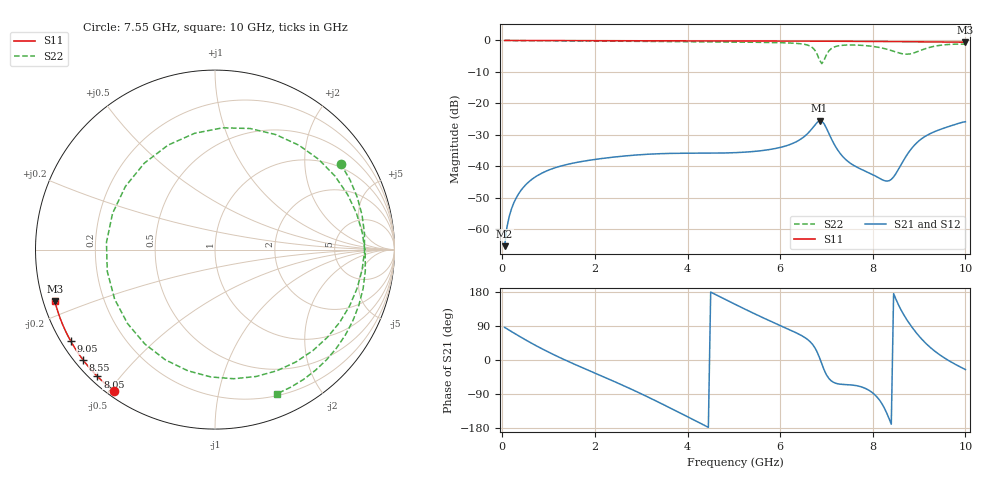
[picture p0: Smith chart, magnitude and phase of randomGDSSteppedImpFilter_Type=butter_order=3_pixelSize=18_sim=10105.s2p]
! freq	dB(S11)	phase(S11)	dB(S12)	phase(S12)
!  dB(S21)	phase(S21)	dB(S22)	phase(S22)
!S-par simulation data
#  GHz  S  DB  R 50
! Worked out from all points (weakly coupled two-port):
!   200 points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, 50 MHz to 10 GHz, reference 50 ohm
!   highest |S21| = -25.51 dB at 6.85 GHz (marker M1); lowest = -65.3 dB at 50 MHz (marker M2)
!   lowest |S11| = -0.6 dB at 10 GHz (marker M3), VSWR 30.91, Z = 1.66 - j7.89 ohm
!   |S11| at or under -10 dB: nowhere
!   |S22| runs from -7.4 to 0.0 dB; largest |S21 - S12| = 0
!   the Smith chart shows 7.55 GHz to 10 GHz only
!   S11 on the Smith chart (normalised r, x): 7.55 GHz: 0.02, -0.51; 8.05 GHz: 0.02, -0.44; 8.55 GHz: 0.02, -0.36; 9.05 GHz: 0.03, -0.29; 10 GHz: 0.03, -0.16
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0.05  -0.00 -0.9  -65.35 86.1  -65.35 86.1  -0.00 -6.6
0.25  -0.01 -4.7  -51.55 71.2  -51.55 71.2  -0.05 -32.7
0.75  -0.02 -14.0  -43.00 36.4  -43.00 36.4  -0.11 -93.5
1.75  -0.04 -32.2  -38.36 -21.4  -38.36 -21.4  -0.18 166.2
2.6  -0.06 -47.3  -36.75 -66.7  -36.75 -66.7  -0.25 88.1
3.4  -0.08 -61.1  -35.97 -112.9  -35.97 -112.9  -0.33 12.4
4.25  -0.11 -75.2  -35.82 -165.3  -35.82 -165.3  -0.42 -65.2
5.05  -0.14 -87.9  -35.63 145.5  -35.63 145.5  -0.51 -132.1
5.95  -0.18 -101.8  -34.16 93.7  -34.16 93.7  -0.69 150.3
6.45  -0.21 -109.4  -31.30 65.3  -31.30 65.3  -1.06 92.6
6.7  -0.23 -113.1  -27.81 41.2  -27.81 41.2  -2.30 38.2
6.85  -0.24 -115.3  -25.51 6.1  -25.51 6.1  -6.25 -48.7
7  -0.25 -117.5  -27.89 -39.2  -27.89 -39.2  -4.53 164.6
7.2  -0.26 -120.4  -33.81 -61.3  -33.81 -61.3  -1.91 93.6
7.55  -0.28 -125.5  -39.35 -66.0  -39.35 -66.0  -1.43 34.4
8.05  -0.32 -132.8  -43.02 -92.5  -43.02 -92.5  -2.00 -37.9
8.35  -0.35 -137.2  -44.57 -154.0  -44.57 -154.0  -2.98 -91.9
8.55  -0.37 -140.2  -41.04 147.0  -41.04 147.0  -3.90 -139.7
8.75  -0.39 -143.1  -36.09 103.6  -36.09 103.6  -4.36 160.5
9.05  -0.43 -147.5  -31.27 56.0  -31.27 56.0  -3.07 73.8
9.45  -0.48 -153.5  -28.30 13.3  -28.30 13.3  -1.55 -0.9
10  -0.56 -162.0  -25.82 -25.2  -25.82 -25.2  -1.17 -66.5
